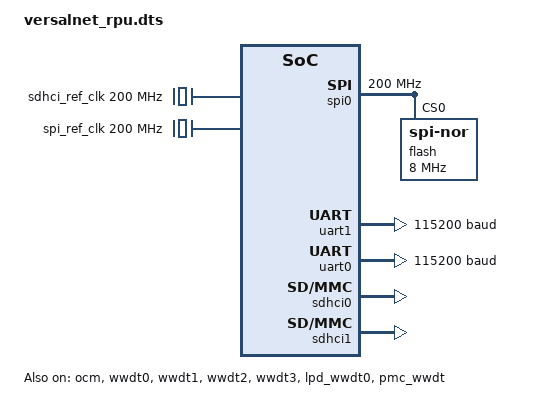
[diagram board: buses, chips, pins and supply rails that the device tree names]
/*
 * Copyright (c) 2025, Advanced Micro Devices, Inc.
 *
 * SPDX-License-Identifier: Apache-2.0
 */

/dts-v1/;
#include <arm/xilinx/versalnet_r52.dtsi>

/ {
	chosen {
		zephyr,sram = &sram0;
		zephyr,console = &uart0;
		zephyr,shell-uart = &uart0;
		zephyr,ocm = &ocm;
	};

	aliases {
		watchdog0 = &wwdt0;
	};

	sdhci_ref_clk: sdhci-ref-clk {
		compatible = "fixed-clock";
		clock-frequency = <200000000>;
		#clock-cells = <0>;
	};

	wwdtclk: wwdt-clk {
		compatible = "fixed-clock";
		clock-frequency = <150000000>;
		#clock-cells = <0>;
	};

	spi_ref_clk: spi-ref-clk {
		compatible = "fixed-clock";
		status = "okay";
		clock-frequency = <200000000>;
		#clock-cells = <0> ;
	};
};

&spi0 {
	status = "okay";
	clock-frequency = <200000000>;
	flash@0 {
		compatible = "jedec,spi-nor";
		reg = <0>;
		spi-max-frequency = <8000000>;
		jedec-id = [ 20 20 14 ]; /* m25p80 */
		size = <0x2000000>; /* 32Mb */
		has-dpd;
		t-enter-dpd = <10000>;
		t-exit-dpd = <35000>;
	};
};

&cpu0 {
	clock-frequency = <100000000>;
};

&soc {
	sram0: memory@30000 {
		compatible = "mmio-sram";
		reg = <0x30000 DT_SIZE_M(2047)>;
	};

	tcm: memory@0 {
		compatible = "mmio-sram";
		reg = <0x0 DT_SIZE_K(64)>;
	};
};

&ocm {
	status = "okay";
};

&uart1 {
	status = "okay";
	current-speed = <115200>;
	clock-frequency = <100000000>;
};

&uart0 {
	status = "okay";
	current-speed = <115200>;
	clock-frequency = <100000000>;
};

&sdhci0 {
	status = "okay";
	power-delay-ms = <10>;
	clocks = <&sdhci_ref_clk>;
};

&sdhci1 {
	status = "okay";
	clocks = <&sdhci_ref_clk>;
};

&wwdt0 {
	status = "okay";
	clocks = <&wwdtclk>;
};

&wwdt1 {
	status = "okay";
	clocks = <&wwdtclk>;
};

&wwdt2 {
	status = "okay";
	clocks = <&wwdtclk>;
};

&wwdt3 {
	status = "okay";
	clocks = <&wwdtclk>;
};

&lpd_wwdt0 {
	status = "okay";
	clocks = <&wwdtclk>;
};

&pmc_wwdt {
	status = "okay";
	clocks = <&wwdtclk>;
};
